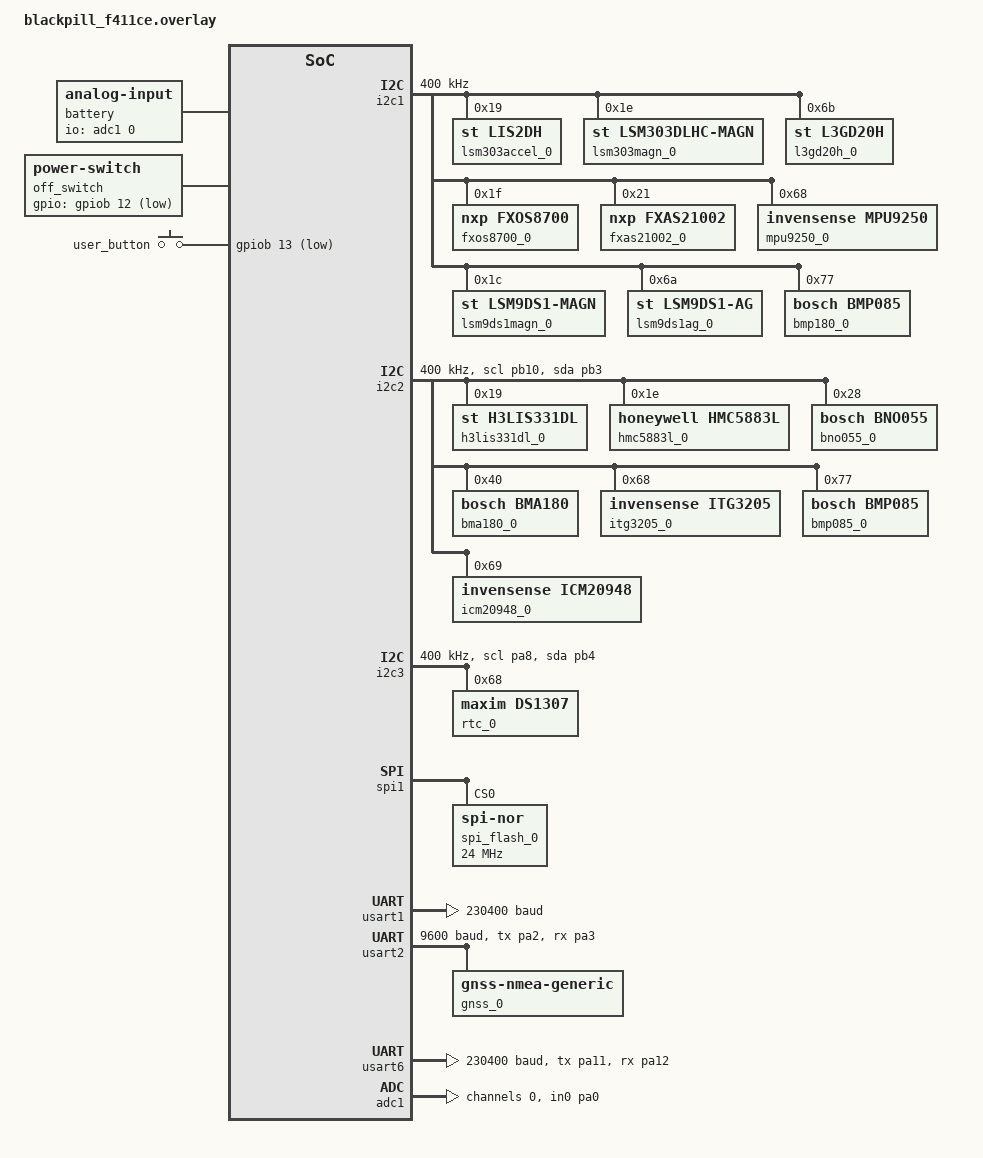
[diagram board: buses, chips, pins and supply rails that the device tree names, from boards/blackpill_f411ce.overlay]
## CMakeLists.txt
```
# SPDX-License-Identifier: Apache-2.0

cmake_minimum_required(VERSION 3.20.0)

set (CMAKE_CXX_STANDARD 20)
set (CMAKE_CXX_STANDARD_REQUIRED ON)


# Default board to blackpill
if (NOT DEFINED ${BOARD})
  set(BOARD blackpill_f411ce)
endif()

# Define board root to find our custom shield
set(BOARD_ROOT ${CMAKE_SOURCE_DIR})

find_package(Zephyr REQUIRED HINTS $ENV{ZEPHYR_BASE})

project(imubar)

FILE(GLOB app_sources src/*.cpp)

# For some reason west doesn't want to link in our driver sources...
#include(${ZEPHYR_BASE}/cmake/modules/extensions.cmake)
#add_subdirectory(drivers)
#target_sources(app PRIVATE ${app_sources})

# ... so add them explicitly
set(driver_sources 
  drivers/sensor/bosch/bno055/bno055.c
  drivers/sensor/st/lsm9ds1_ag/lsm9ds1_ag.c
  drivers/sensor/st/lsm9ds1_magn/lsm9ds1_magn.c
  drivers/sensor/st/l3gd20h/l3gd20h.c
  drivers/sensor/bosch/bmp085/bmp085.c
  drivers/sensor/bosch/bma180/bma180.c
  drivers/sensor/tdk/itg3205/itg3205.c
  drivers/sensor/tdk/icm20948/icm20948.c
  drivers/sensor/st/h3lis331dl/h3lis331dl.c
)
target_sources(app PRIVATE ${app_sources} ${driver_sources})

include(ExternalProject)

set(ATTITUDE_DIR ${CMAKE_CURRENT_SOURCE_DIR}/depends/attitude)
set(ATTITUDE_INCLUDE_DIR ${ATTITUDE_DIR}/include)
set(ATTITUDE_BUILD_DIR ${CMAKE_CURRENT_BINARY_DIR}/attitude)
set(ATTITUDE_LIB ${ATTITUDE_BUILD_DIR}/libattitude.a)

zephyr_get_include_directories_for_lang_as_string(       CPP CXX_INCLUDES)
zephyr_get_system_include_directories_for_lang_as_string(CPP CXX_SYSTEM_INCLUDES)
zephyr_get_compile_definitions_for_lang_as_string(       CPP CXX_DEFINITIONS)
zephyr_get_compile_options_for_lang_as_string(           CPP CXX_OPTIONS)


message("Compiler: ${CMAKE_CXX_COMPILER}")

ExternalProject_Add(
  attitude_src
  SOURCE_DIR ${ATTITUDE_DIR}
  PREFIX ${ATTITUDE_BUILD_DIR}
  BINARY_DIR ${ATTITUDE_BUILD_DIR}
  BUILD_BYPRODUCTS ${ATTITUDE_LIB}
  CMAKE_ARGS 
    -DCMAKE_TRY_COMPILE_TARGET_TYPE=STATIC_LIBRARY
    -DCMAKE_SYSTEM_NAME=Generic
    -DCMAKE_CROSSCOMPILING=1
    -DCMAKE_C_COMPILER=${CMAKE_C_COMPILER}
    -DCMAKE_C_COMPILER_WORKS=1
    -DCMAKE_CXX_COMPILER=${CMAKE_CXX_COMPILER}
    -DCMAKE_CXX_FLAGS=${CXX_OPTIONS}
  INSTALL_COMMAND ""
)

add_library(attitude_lib STATIC IMPORTED GLOBAL)
add_dependencies(attitude_lib attitude_src)


add_dependencies(app attitude_lib)
set_target_properties(attitude_lib PROPERTIES IMPORTED_LOCATION             ${ATTITUDE_LIB}) 
set_target_properties(attitude_lib PROPERTIES INTERFACE_INCLUDE_DIRECTORIES ${ATTITUDE_INCLUDE_DIR})

target_link_libraries(app PUBLIC attitude_lib)
target_include_directories(app PUBLIC ${ATTITUDE_INCLUDE_DIR})
```

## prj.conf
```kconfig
CONFIG_LOG=y
CONFIG_LOG_MODE_IMMEDIATE=y
CONFIG_LOG_DEFAULT_LEVEL=3
CONFIG_LOG_BACKEND_UART=y
CONFIG_CBPRINTF_FP_SUPPORT=y
CONFIG_DEBUG=y

CONFIG_MAIN_STACK_SIZE=2048
CONFIG_SYSTEM_WORKQUEUE_STACK_SIZE=2048

CONFIG_CPP=y
CONFIG_STD_CPP20=y
CONFIG_GLIBCXX_LIBCPP=y
CONFIG_FPU=y
CONFIG_FPU_SHARING=y

CONFIG_I2C=y                                                                                         
CONFIG_SENSOR=y                                                                                      
CONFIG_ADC=y
CONFIG_GPIO=y
CONFIG_SERIAL=y
CONFIG_UART_INTERRUPT_DRIVEN=y
CONFIG_RING_BUFFER=y

CONFIG_MPU9250_MAGN_EN=y
CONFIG_MPU9250_TRIGGER_NONE=y

CONFIG_FXOS8700_TRIGGER_NONE=y
CONFIG_FXOS8700_MODE_HYBRID=y
CONFIG_FXOS8700_TEMP=y

CONFIG_FXAS21002_TRIGGER_NONE=y
# 250dps
CONFIG_FXAS21002_RANGE=3
# 100Hz
CONFIG_FXAS21002_DR=3

CONFIG_LIS2DH=y
CONFIG_LIS2DH_ACCEL_RANGE_2G=y
CONFIG_LIS2DH_OPER_MODE_HIGH_RES=y
CONFIG_LIS2DH_ODR_6=y

CONFIG_LSM303DLHC_MAGN=y
CONFIG_LSM303DLHC_MAGN_RANGE=3
CONFIG_LSM303DLHC_MAGN_ODR=4

CONFIG_L3GD20H=y
CONFIG_L3GD20H_FS_245=y
CONFIG_L3GD20H_ODR_400=y
CONFIG_L3GD20H_FILTER_CUTOFF_2=y

CONFIG_BNO055=y
CONFIG_BNO055_TRIGGER_NONE=y
CONFIG_BNO055_OPERATION_MODE_ACCEL_GYRO_MAGN=y
CONFIG_BNO055_ACCEL_RANGE_4G=y
CONFIG_BNO055_ACCEL_BANDWIDTH_125HZ=y
CONFIG_BNO055_GYRO_RANGE_500DPS=y
CONFIG_BNO055_GYRO_BANDWIDTH_116HZ=y
CONFIG_BNO055_MAGN_OPERATION_MODE_REGULAR=y
CONFIG_BNO055_MAGN_POWER_MODE_NORMAL=y
CONFIG_BNO055_MAGN_DATA_RATE_10HZ=y

CONFIG_LSM9DS1_AG=y
CONFIG_LSM9DS1_TRIGGER_NONE=y
CONFIG_LSM9DS1_ACCEL_FULL_SCALE_2=y
CONFIG_LSM9DS1_GYRO_FULL_SCALE_245=y

CONFIG_LSM9DS1_MAGN=y
CONFIG_LSM9DS1_MAGN_TEMP_COMP=y
CONFIG_LSM9DS1_MAGN_ULTRA_PERF=y

CONFIG_BMP085=y
CONFIG_BMP085_OVERSAMPLING_ULTRA=y

CONFIG_ZBUS=y
CONFIG_ZBUS_CHANNEL_NAME=y
CONFIG_ZBUS_OBSERVER_NAME=y

CONFIG_SPI=y
CONFIG_FLASH=y
CONFIG_FLASH_PAGE_LAYOUT=y

CONFIG_GNSS=y
CONFIG_RTC=y
```

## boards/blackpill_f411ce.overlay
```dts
/*
 * Copyright (c) 2019 Nordic Semiconductor ASA
 *
 * SPDX-License-Identifier: Apache-2.0
 */


&i2c1 {
    clock-frequency = <I2C_BITRATE_FAST>;

    lsm303accel_0: lis2dh@19 {
        compatible = "st,lis2dh";
        reg = <0x19>;
    };

    lsm303magn_0: lsm303dlhc-magn@1e {
        compatible = "st,lsm303dlhc-magn";
        reg = <0x1e>;
    };

    l3gd20h_0: l3gd20h@6b {
        compatible = "st,l3gd20h";
        reg = <0x6b>;
    };

    fxos8700_0: fxos8700@1f {
		compatible = "nxp,fxos8700";
		reg = <0x1f>;
        range = <2>;
    };

    fxas21002_0: fxas21002@21 {
		compatible = "nxp,fxas21002";
		reg = <0x21>;
    };

	mpu9250_0: mpu9250@68 {
		compatible = "invensense,mpu9250";
		reg = <0x68>;
        gyro-sr-div = <10>;
        gyro-dlpf = <5>;
        gyro-fs = <250>;
        accel-fs = <2>;
        accel-dlpf = "5.05";
	};

    lsm9ds1magn_0: lsm9ds1magn@1c {
        compatible = "st,lsm9ds1-magn";
        reg = <0x1c>;
    };

    lsm9ds1ag_0: lsm9ds1ag@6a {
        compatible = "st,lsm9ds1-ag";
        reg = <0x6a>;
    };

    bmp180_0: bmp085@77 {
		compatible = "bosch,bmp085";
		reg = <0x77>;
    };
};

&i2c2 {
    pinctrl-0 = <&i2c2_scl_pb10 &i2c2_sda_pb3>;
    pinctrl-names = "default";
    status = "okay";
    clock-frequency = <I2C_BITRATE_FAST>;

    h3lis331dl_0: h3lis331dl@19 {
		compatible = "st,h3lis331dl";
		reg = <0x19>;
    };

    hmc5883l_0: hmc5883l@1e {
		compatible = "honeywell,hmc5883l";
		reg = <0x1e>;
    };

    bno055_0: bno055@28 {
		compatible = "bosch,bno055";
		reg = <0x28>;
    };

    bma180_0: bma180@40 {
		compatible = "bosch,bma180";
		reg = <0x40>;
    };

    itg3205_0: itg3205@68 {
		compatible = "invensense,itg3205";
		reg = <0x68>;
    };

    bmp085_0: bmp085@77 {
		compatible = "bosch,bmp085";
		reg = <0x77>;
    };

    icm20948_0: icm20948@69 {
		compatible = "invensense,icm20948";
		reg = <0x69>;
        accel-hz = <100>;
        gyro-hz = <100>;
        mag-freq = <10>;
    };

};

&i2c3 {
    pinctrl-0 = <&i2c3_scl_pa8 &i2c3_sda_pb4>;
    pinctrl-names = "default";
    status = "okay";
    clock-frequency = <I2C_BITRATE_FAST>;

    rtc_0: ds1307@68 {
        compatible = "maxim,ds1307";
        reg = <0x68>;
    };
};

&spi1 {
    status = "okay";

    spi_flash_0: flash@0 {
        compatible = "jedec,spi-nor";
        reg = <0>;
        spi-max-frequency = <24000000>; // 24 MHz
        size = <0x8000000>; // 128 Mbit
        jedec-id = [EF 40 18]; // Manufacturer and device ID
        status = "okay";
    };
};

&usart1 {
    status = "okay";
    current-speed = <230400>;
};

&usart2 {
    pinctrl-0 = <&usart2_tx_pa2 &usart2_rx_pa3>;
    pinctrl-names = "default";
    status = "okay";
    current-speed = <9600>;

    gnss_0: gnss-nmea-generic {
        compatible = "gnss-nmea-generic";
    };
};

&usart6 {
    pinctrl-0 = <&usart6_tx_pa11 &usart6_rx_pa12>;
    pinctrl-names = "default";
    status = "okay";
    current-speed = <230400>;
};

/* Move user button IO to free up pa0 for adc */
&user_button {
    gpios = <&gpiob 13 (GPIO_ACTIVE_LOW | GPIO_PULL_UP)>;
};

&adc1 {
    status = "okay";
    pinctrl-0 = <&adc1_in0_pa0>;
    pinctrl-names = "default";
    #address-cells = <1>;
    #size-cells = <0>;

    channel@0 {
        reg = <0>;
        zephyr,gain = "ADC_GAIN_1";
        zephyr,reference = "ADC_REF_INTERNAL";
        zephyr,acquisition-time = <ADC_ACQ_TIME_DEFAULT>;
        zephyr,resolution = <12>;
    };
};

/ {
    battery: battery {
        compatible = "analog-input";
        io-channels = <&adc1 0>;
        status = "okay";
    };

    off_switch: off_switch {
        compatible = "power-switch";
        gpios = <&gpiob 12 GPIO_ACTIVE_LOW>;
        status = "okay";
    };

    aliases {
        uartinterface = &usart6;
        uartgnss = &usart2;
    };
};
```

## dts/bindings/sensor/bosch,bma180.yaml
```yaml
# Copyright (c) 2024 J.R. Versteegh
# SPDX-License-Identifier: Apache-2.0

description: |
  Bosch BMA180 acceleration sensor.  See more info at:
  https://www.bosch-sensortec.com/products/

compatible: "bosch,bma180"

include: [sensor-device.yaml, i2c-device.yaml]
```

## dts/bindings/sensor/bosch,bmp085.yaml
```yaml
# Copyright (c) 2020 Nordic Semiconductor ASA
# SPDX-License-Identifier: Apache-2.0

description: |
  Bosch BMP085 pressure sensor.  See more info at:
  https://www.bosch-sensortec.com/products/

compatible: "bosch,bmp085"

include: [sensor-device.yaml, i2c-device.yaml]
```

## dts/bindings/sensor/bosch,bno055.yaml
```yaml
# Copyright (c) 2020 Nordic Semiconductor ASA
# SPDX-License-Identifier: Apache-2.0

description: |
  Bosch BNO055 9DOR imu with fusion.  See more info at:
  https://www.bosch-sensortec.com/products/smart-sensor-systems/sensor-nodes/

compatible: "bosch,bno055"

include: [sensor-device.yaml, i2c-device.yaml]

properties:
  int1-gpios:
    type: phandle-array
    description: |
      Identifies pin for the INT1 signal on the sensor.  The sensor
      INT2 signal is not supported by the driver.
```

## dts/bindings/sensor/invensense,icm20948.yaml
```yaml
description:
  TDK InvenSense ICM20948 9DOF motion sensor

compatible: "invensense,icm20948"

include: [sensor-device.yaml, i2c-device.yaml]
```

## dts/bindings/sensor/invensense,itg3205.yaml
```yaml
description:
  TDK InvenSense ITG3205 gyroscope

compatible: "invensense,itg3205"

include: [sensor-device.yaml, i2c-device.yaml]
```

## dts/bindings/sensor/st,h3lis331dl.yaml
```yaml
# Copyright (c) 2024 J.R. Versteegh
# SPDX-License-Identifier: Apache-2.0

description: |
  ST H3LIS331DL Accelerometer.  See more info at:
  https://www.st.com/en/mems-and-sensors/lsm9ds1.html

compatible: "st,h3lis331dl"

include: [sensor-device.yaml, i2c-device.yaml]

properties:
  int1-gpios:
    type: phandle-array
    description: |
      Identifies pins for the INT1 and INT2 signal on the sensor.
```

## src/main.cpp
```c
/*
 * Copyright (c) 2017 Intel Corporation
 *
 * SPDX-License-Identifier: Apache-2.0
 */

#include <zephyr/device.h>
#include <zephyr/drivers/gpio.h>
#include <zephyr/drivers/i2c.h>
#include <zephyr/drivers/sensor.h>
#include <zephyr/kernel.h>
#include <zephyr/kernel/thread.h>
#include <zephyr/logging/log.h>

#include <attitude/types.h>

LOG_MODULE_REGISTER(imubar);

#include "battery.h"
#include "clock.h"
#include "errors.h"
#include "gps.h"
#include "interface.h"
#include "sensors.h"
#include "storage.h"
#include "work.h"

using namespace imubar;

static const struct gpio_dt_spec led = GPIO_DT_SPEC_GET(DT_ALIAS(led0), gpios);

void fetch_envs(auto& envs) {
  for (auto& env : envs) {
    env->fetch();
  }
}

void fetch_envs_bus0() {
  auto& envs = sensors::get_envs_bus0();
  fetch_envs(envs);
}

void fetch_envs_bus1() {
  auto& envs = sensors::get_envs_bus1();
  fetch_envs(envs);
}

void read_envs(auto& envs, bool print) {
  for (auto& env : envs) {
    auto name = env->get_name();
    double uptime = env->get_time() / 1000.0;
    auto temperature = env->get_temperature();
    auto pressure = env->get_pressure();
    if (print) {
      printk("%8.3f  ", uptime);
      printk("%20.20s  ", name.c_str());
      printk("T: %2.2f ", static_cast<double>(temperature));
      printk("P: %6.0f\n", static_cast<double>(pressure));
    }
  }
}

void read_envs_bus0(bool print) {
  auto& envs = sensors::get_envs_bus0();
  read_envs(envs, print);
}

void read_envs_bus1(bool print) {
  auto& envs = sensors::get_envs_bus1();
  read_envs(envs, print);
}

void read_imus(auto& imus, bool print) {
  if (print) {
    printk("-----\n");
  }
  for (auto& imu : imus) {
    auto name = imu->get_name();
    double uptime = imu->fetch() / 1000.0;
    auto accel = imu->get_acceleration();
    auto gyro = imu->get_rotation();
    auto magn = imu->get_magfield();
    if (print) {
      printk("%8.3f  ", uptime);
      printk("%20.20s  ", name.c_str());
      printk(
          "A: %8.4f, %8.4f, %8.4f  ",
          static_cast<double>(accel.x),
          static_cast<double>(accel.y),
          static_cast<double>(accel.z));
      printk(
          "R: %7.4f, %7.4f, %7.4f  ",
          static_cast<double>(gyro.x),
          static_cast<double>(gyro.y),
          static_cast<double>(gyro.z));
      printk(
          "M: %7.4f, %7.4f, %7.4f\n",
          static_cast<double>(magn.x),
          static_cast<double>(magn.y),
          static_cast<double>(magn.z));
    }
  }
}

void read_imus_bus0(bool print) {
  auto& imus = sensors::get_imus_bus0();
  read_imus(imus, print);
}

void read_imus_bus1(bool print) {
  auto& imus = sensors::get_imus_bus1();
  read_imus(imus, print);
}

static void initialize_led() {
  if (!gpio_is_ready_dt(&led)) {
    LOG_ERR("GPIO not ready.");
  }

  int ret = gpio_pin_configure_dt(&led, GPIO_OUTPUT_ACTIVE);
  if (ret < 0) {
    LOG_ERR("Failed to initialize LED.");
  }
}

static void toggle_led() {
  static bool led_state = true;
  int ret = gpio_pin_toggle_dt(&led);
  if (ret < 0) {
    LOG_ERR("Failed to toggle LED.");
  }
  led_state = !led_state;
}

void bus0_loop(void* arg1, void* arg2, void* arg3) {
  int i = 0;
  auto time = k_uptime_get();
  int64_t sum_rem = 0;
  while (true) {
    bool on_second = i % 100 == 0;
    read_imus_bus0(on_second);
    if (on_second) {
      fetch_envs_bus0();
    }

    time += 10;
    auto rem = time - k_uptime_get();
    if (rem > 0) {
      k_sleep(K_MSEC(rem));
    }
    sum_rem += rem;
    if (i % 1000 == 0) {
      auto duty_cycle = 100 - sum_rem / 100;
      printk("Bus 0 duty cycle: %lld%%\n\n", duty_cycle);
      sum_rem = 0;
    }

    ++i;
  }
}

void bus1_loop(void* arg1, void* arg2, void* arg3) {
  int i = 0;
  auto time = k_uptime_get();
  int64_t sum_rem = 0;
  while (true) {
    bool on_second = i % 100 == 0;
    read_imus_bus1(on_second);
    if (on_second) {
      fetch_envs_bus1();
    }

    time += 10;
    auto rem = time - k_uptime_get();
    if (rem > 0) {
      k_sleep(K_MSEC(rem));
    }
    sum_rem += rem;
    if (i % 1000 == 0) {
      auto duty_cycle = 100 - sum_rem / 100;
      printk("Bus 1 duty cycle: %lld%%\n\n", duty_cycle);
      sum_rem = 0;
    }

    ++i;
  }
}

K_THREAD_DEFINE(bus0_thread, 2048, bus0_loop, NULL, NULL, NULL, -1, K_FP_REGS, 1000);
K_THREAD_DEFINE(bus1_thread, 2048, bus1_loop, NULL, NULL, NULL, -1, K_FP_REGS, 1500);


int main(void) {
  LOG_INF("IMUBar initializing...");
  initialize_led();
  clock::initialize();
  storage::initialize();
  gnss::initialize();
  interface::initialize();
  sensors::initialize();
  battery::initialize();

  LOG_INF("IMUBar running...");
  int i = 0;
  int64_t last_sec = 0;
  auto loop_time = k_uptime_get();
  int64_t sum_rem = 0;
  char msg[16];
  while (true) {
    auto [time, uptime] = clock::get_time_and_uptime();
    loop_time += 10;
    auto rem = loop_time - uptime;
    if (rem > 0) {
      k_sleep(K_MSEC(rem));
    }
    sum_rem += rem;
    if (i % 1000 == 0) {
      auto duty_cycle = 100 - sum_rem / 100;
      printk("Main thread duty cycle: %lld%%\n\n", duty_cycle);
      sum_rem = 0;
    }

    auto sec = time / clock_scaler;
    if (sec != last_sec) {
      last_sec = sec;

      toggle_led();

      switch (sec % 5) {
        case 0: {
          auto time_str = clock::get_time_str();
          LOG_INF("%s", time_str.c_str());
          interface::write((uint8_t*)time_str.c_str(), time_str.length());
        } break;
        case 1: {
          auto date_str = clock::get_date_str();
          LOG_INF("%s", date_str.c_str());
          interface::write((uint8_t*)date_str.c_str(), date_str.length());
        } break;
        case 2: {
          char has_data = gnss::has_data() ? 'T' : 'F';
          char has_fix = gnss::has_fix() ? 'T' : 'F';
          auto pos = gnss::get_position();
          snprintf(
              msg,
              16,
              "%c%c %.2f %.2f",
              has_data,
              has_fix,
              (double)pos.lat(),
              (double)pos.lon());
          LOG_INF("%s", msg);
          interface::write((uint8_t*)msg, strlen(msg));
        } break;
        case 3: {
          auto battery_level = battery::check();
          snprintf(msg, 16, "Batt %.2f V", (double)battery_level);
          LOG_INF("%s", msg);
          interface::write((uint8_t*)msg, strlen(msg));
        } break;
        case 4: {
          auto adjustment = clock::get_adjustment();
          snprintf(msg, 16, "Adj %d ms", adjustment);
          LOG_INF("%s", msg);
          interface::write((uint8_t*)msg, strlen(msg));
        } break;
      }
    }
    clock::adjust_from_rtc();
    ++i;
  }

  LOG_INF("IMUBar done.");
  return 0;
}
```

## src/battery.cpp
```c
#include <zephyr/device.h>
#include <zephyr/drivers/adc.h>
#include <zephyr/drivers/gpio.h>
#include <zephyr/kernel.h>
#include <zephyr/logging/log.h>

#include "battery.h"
#include "errors.h"
#include "types.h"

LOG_MODULE_DECLARE(imubar);

#define BATTERY DT_NODELABEL(battery)
#define OFF_SWITCH DT_NODELABEL(off_switch)

#if !DT_NODE_EXISTS(BATTERY)
#error "Battery voltage gpio input not properly defined."
#endif

#if !DT_NODE_EXISTS(OFF_SWITCH)
#error "Power off switch gpio output not properly defined."
#endif

namespace imubar {

static constexpr float battery_level_multiplier = 0.002025;

namespace battery {

static const struct adc_dt_spec battery = ADC_DT_SPEC_GET(BATTERY);
static const struct gpio_dt_spec off_switch = GPIO_DT_SPEC_GET(OFF_SWITCH, gpios);

static float get_level() {
  uint16_t sample;
  struct adc_sequence sequence = {
      .options = nullptr,
      .buffer = &sample,
      .buffer_size = sizeof(sample),
      .calibrate = false,
  };
  adc_sequence_init_dt(&battery, &sequence);
  int err = adc_read_dt(&battery, &sequence);
  if (err < 0) {
    LOG_ERR("Could not read: %d", err);
    return 0.0f;
  }
  int32_t val = static_cast<int32_t>(sample);
  err = adc_raw_to_millivolts_dt(&battery, &val);
  if (err < 0) {
    LOG_ERR("Failed to convert to millivolts: %d", err);
    return 0.0f;
  }
  float value = battery_level_multiplier * static_cast<float>(val);
  static float mean = value;
  mean = 0.97f * mean + 0.03f * value;
  return mean;
}

static void switch_off() {
  LOG_INF("Enabling output...");
  int ret = gpio_pin_configure_dt(&off_switch, GPIO_OUTPUT);
  if (ret < 0) {
    LOG_ERR("Failed to configure offswitch to output");
    return;
  }
  LOG_INF("Switching off...");
  ret = gpio_pin_set_dt(&off_switch, GPIO_OUTPUT_ACTIVE);
  if (ret < 0) {
    LOG_ERR("Failed to switch off");
    return;
  }
  LOG_INF("Switched off!");
  k_msleep(1000);
  ret = gpio_pin_configure_dt(&off_switch, GPIO_DISCONNECTED);
  if (ret < 0) {
    LOG_ERR("Failed to release output");
    return;
  }
  k_msleep(1000);
  LOG_INF("Switch off ineffective...");
}

float check() {
  auto battery_level = get_level();
  if (battery_level < 3.45f) {
    LOG_WRN("%.2f V. Low Battery!", (double)battery_level);
    k_msleep(500);
    for (int i = 0; i < 3; ++i)
      switch_off();
    LOG_INF("Halting system...");
    k_fatal_halt(0);
  }
  return battery_level;
}

void initialize() {
  if (!adc_is_ready_dt(&battery)) {
    error(2, "ADC device for battery level not ready");
  }

  int ret = adc_channel_setup_dt(&battery);
  if (ret) {
    error(2, "ADC channel setup for battery level failed: %d", ret);
  }

  // Initialize adc and mean value for battery voltage
  for (int i = 0; i < 100; ++i) {
    get_level();
    k_msleep(5);
  }

  if (!gpio_is_ready_dt(&off_switch)) {
    error(2, "GPIO not ready");
  }

  ret = gpio_pin_configure_dt(&off_switch, GPIO_DISCONNECTED);
  if (ret < 0) {
    error(2, "Failed to configure offswitch to disconnected");
  }
}

} // namespace battery
} // namespace imubar
```

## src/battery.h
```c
#ifndef IMUBAR_BATTERY_H__
#define IMUBAR_BATTERY_H__

namespace imubar {
namespace battery {

extern void initialize();
extern float check();

} // namespace battery
} // namespace imubar

#endif
```

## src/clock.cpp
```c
#include "clock.h"
#include "errors.h"
#include "gps.h"

#include <zephyr/kernel.h>
#include <zephyr/logging/log.h>
#include <zephyr/sys/timeutil.h>

#include <ctime>


LOG_MODULE_DECLARE(imubar);

#define RTC_0 DT_NODELABEL(rtc_0)

namespace imubar {
namespace clock {

static device const* const rtc = DEVICE_DT_GET(RTC_0);

static Time uptime_offset_ = 0;
static Time clock_set_at_ = 0;
static int32_t adjustment_ = 0;


int32_t get_adjustment() {
  return adjustment_;
}

static rtc_time rtctime_to_set{};
static k_work_delayable rtc_set{};
static k_work clock_update{};

void set_rtc_delayed(k_work* work) {
  if (!set_rtc(rtctime_to_set, false)) {
    LOG_ERR("Failed to set RTC");
    adjustment_ = -600000;
  }
}

Time rtc_time_to_time(rtc_time rtctime, bool include_millis) {
  time_t time = timeutil_timegm(rtc_time_to_tm(&rtctime));
  auto result = clock_scaler * time;
  if (include_millis) {
    result += rtctime.tm_nsec / 1000000;
  }
  return result;
}

bool set_rtc(rtc_time& rtctime, bool set_clock) {
  auto delay = 1000 - (rtctime.tm_nsec / 1000000) - 10;
  if (rtctime.tm_nsec == 0 || delay <= 0) {
    auto ret = rtc_set_time(rtc, &rtctime);
    if (ret < 0) {
      LOG_ERR("Failed to set RTC clock");
      return false;
    }
  }
  else {
    rtctime_to_set = rtctime;
    rtctime_to_set.tm_sec += 1;
    rtctime_to_set.tm_nsec = 0;
    if (rtctime_to_set.tm_sec > 59) {
      rtctime_to_set.tm_min += 1;
      rtctime_to_set.tm_sec = 0;
    }
    if (rtctime_to_set.tm_min > 59) {
      rtctime_to_set.tm_hour += 1;
      rtctime_to_set.tm_min = 0;
    }
    k_work_schedule(&rtc_set, K_MSEC(delay));
  }
  if (set_clock) {
    set(rtctime);
  }
  return true;
}

void set(Time time) {
  clock_set_at_ = k_uptime_get();
  uptime_offset_ = time - clock_set_at_;
  adjustment_ = 0;
}

void set(rtc_time& rtctime) {
  set(rtc_time_to_time(rtctime));
}

bool set_from_rtc(bool exact) {
  rtc_time rtctime;
  auto ret = rtc_get_time(rtc, &rtctime);
  if (ret < 0) {
    LOG_ERR("Failed to get RTC time: %d", ret);
    return false;
  }
  if (exact && (rtctime.tm_nsec == 0)) {
    auto secs = rtctime.tm_sec;
    while (rtctime.tm_sec == secs) {
      ret = rtc_get_time(rtc, &rtctime);
      if (ret < 0) {
        LOG_ERR("Failed to get RTC time: %d", ret);
        return false;
      }
      k_msleep(5);
    }
  }
  set(rtctime);
  return true;
}

void adjust(Time time) {
  static int drift_dir = 0;
  auto offset = time - get_time();
  if (offset > 10) {
    if (drift_dir < 60) {
      drift_dir += 1;
    }
    if (drift_dir > 0) {
      uptime_offset_ += 1;
      adjustment_ += 1;
    }
  }
  else if (offset < -10) {
    if (drift_dir > -60) {
      drift_dir -= 1;
    }
    if (drift_dir < 0) {
      uptime_offset_ -= 1;
      adjustment_ -= 1;
    }
  }
}

void adjust(rtc_time& rtctime) {
  adjust(rtc_time_to_time(rtctime));
}

static void update_clock(k_work* work) {
  rtc_time rtctime;
  auto ret = rtc_get_time(rtc, &rtctime);
  if (ret < 0) {
    LOG_ERR("Failed to get RTC time: %d", ret);
    return;
  }
  static Time last_time_from_rtc = 0;
  Time time_from_rtc = rtc_time_to_time(rtctime, false);
  // Do this each on each 10s mark only and when we ticked exactly 1 second
  if (((rtctime.tm_sec % 10) == 0) && ((time_from_rtc - last_time_from_rtc) == 1_s)) {
    adjust(time_from_rtc);
  }
  last_time_from_rtc = time_from_rtc;
}

/**
 * Call multiple times a second to get accurate results. This is
 * because the RTC only has 1 second resolution and so we'll need
 * to poll the rtc often to get close to the second increment
 */
void adjust_from_rtc() {
  k_work_submit(&clock_update);
}

Time get_time() {
  return k_uptime_get() + uptime_offset_;
}

std::tuple<Time, Time> get_time_and_uptime() {
  auto uptime = k_uptime_get();
  return std::make_tuple(uptime + uptime_offset_, uptime);
}

std::string get_time_str(bool include_date) {
  static constexpr char const* const short_fmt = "%H:%M:%S";
  static constexpr char const* const long_fmt = "%m-%d %H:%M:%S";
  auto now = get_time() / clock_scaler;
  auto time = gmtime(&now);
  std::string result{};
  result.resize(24);
  if (include_date) {
    auto s = std::strftime(&result[0], result.size(), long_fmt, time);
    result.resize(s);
  }
  else {
    auto s = std::strftime(&result[0], result.size(), short_fmt, time);
    result.resize(s);
  }
  return result;
}

std::string get_date_str() {
  static constexpr char const* const fmt = "%Y-%m-%d %V %a";
  auto now = get_time() / clock_scaler;
  auto time = gmtime(&now);
  std::string result{};
  result.resize(20);
  auto s = std::strftime(&result[0], result.size(), fmt, time);
  result.resize(s);
  return result;
}

void initialize() {
  if (!device_is_ready(rtc)) {
    error(2, "RTC not ready.");
  }

  k_work_init_delayable(&rtc_set, &set_rtc_delayed);
  k_work_init(&clock_update, &update_clock);

  set_from_rtc(true);
}


} // namespace clock
} // namespace imubar
```

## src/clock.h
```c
#ifndef IMUBAR_CLOCK_H__
#define IMUBAR_CLOCK_H__

#include <zephyr/drivers/rtc.h>

#include <string>
#include <tuple>

#include "types.h"

namespace imubar {
namespace clock {

extern void initialize();
extern bool set_rtc(rtc_time& rtctime, bool set_clock = true);
extern void set(Time const time);
extern void set(rtc_time& rtctime);
extern bool set_from_rtc(bool exact = false);
extern void adjust(Time const time);
extern void adjust(rtc_time& rtctime);
extern void adjust_from_rtc();
extern Time get_time();
extern std::tuple<Time, Time> get_time_and_uptime();
extern std::string get_time_str(bool include_date = true);
extern std::string get_date_str();
extern Time rtc_time_to_time(rtc_time rtctime, bool include_millis = true);
extern int32_t get_adjustment();

} // namespace clock


inline constexpr Time operator""_s(unsigned long long int literal) {
  return literal * clock_scaler;
}
inline constexpr Time operator""_ms(unsigned long long int literal) {
  return literal;
}
inline constexpr int operator""_rtcms(unsigned long long int literal) {
  return literal * 1'000'000;
}

} // namespace imubar

#endif
```

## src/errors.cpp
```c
#include "errors.h"

void halt_or_reboot() {
  k_sleep(K_SECONDS(2));
  sys_reboot(SYS_REBOOT_COLD);
}
```

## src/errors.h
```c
#ifndef IMUBAR_ERRORS_H__
#define IMUBAR_ERRORS_H__

#include <zephyr/kernel.h>
#include <zephyr/sys/reboot.h>

// We don't have user input so OK with non literal format strings
#pragma GCC diagnostic ignored "-Wformat-security"

extern void halt_or_reboot();

template <typename... Args>
inline void error(int category, char const* const message, Args... args) {
  printk(message, args...);
  printk("\n");
  halt_or_reboot();
}

#endif
```

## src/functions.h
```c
#ifndef IMUBAR_FUNCTIONS_H__
#define IMUBAR_FUNCTIONS_H__

#include <cmath>
#include <numbers>

#include "types.h"

namespace imubar {

static constexpr Number pi = std::numbers::pi_v<Number>;

inline Number angle_mod(Number const angle) {
  Number result = std::fmod(angle, Number{360.0});
  return result < Number{0.0} ? result + Number{360.0} : result;
}

inline Number angle_mod_signed(Number const angle) {
  Number result = std::fmod(angle, Number{360.0});
  return result < Number{-180.0}   ? result + Number{360.0}
         : result >= Number{180.0} ? result - Number{360.0}
                                   : result;
}

inline Number angle_diff(Number const angle1, Number const angle2) {
  return angle_mod_signed(angle1 - angle2);
}

} // namespace imubar

#endif
```

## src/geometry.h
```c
#ifndef IMUBAR_GEOMETRY_H__
#define IMUBAR_GEOMETRY_H__

#include "functions.h"

static constexpr Number width = 0.125;
static constexpr Number wheel_diameter = 0.083;
static constexpr int ticks_per_revolution = 24;
static constexpr Number wheel_step = pi * wheel_diameter / ticks_per_revolution;

#endif
```

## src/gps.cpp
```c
#include <zephyr/drivers/gnss.h>
#include <zephyr/drivers/rtc.h>
#include <zephyr/drivers/uart.h>
#include <zephyr/logging/log.h>

#include "clock.h"
#include "errors.h"
#include "gps.h"

#define UART_GNSS DT_ALIAS(uartgnss)
#define GNSS_0 DT_NODELABEL(gnss_0)

LOG_MODULE_DECLARE(imubar);

namespace imubar {
namespace gnss {

static constexpr char const* mtk_only_rmcgga_and_baud_115200 =
    "$PMTK314,0,1,0,1,0,0,0,0,0,0,0,0,0,0,0,0,0,0,0*28\r\n"
    "$PMTK251,115200*1F\r\n";

static device const* const uart_gnss = DEVICE_DT_GET(UART_GNSS);
static device const* const gnss_ = DEVICE_DT_GET(GNSS_0);

static navigation_data data_{};
static bool has_fix_ = false;
static Time data_time_ = 0;

constexpr int gps_reception_delay = 200_rtcms;

static void handle_gnss_data(device const* dev, gnss_data const* data) {
  static int time_set_day = -1;
  data_time_ = clock::get_time();
  data_ = data->nav_data;
  has_fix_ = data->info.fix_status > 0;
  if (has_fix_) {
    auto const& utc = data->utc;
    auto seconds = utc.millisecond / 1000;
    auto nanos = (utc.millisecond % 1000) * 1'000'000 + gps_reception_delay;
    seconds += nanos / 1'000'000'000;
    nanos = nanos % 1'000'000'000;
    //  Do clock setting and adjusting only on 10s boundaries
    if ((seconds % 10) == 0) {
      // The GPS data can have between a 50ms to 400ms delay to be received.
      // We'd need to generate an interrupt from the GPS PPS signal to do better.
      // The PPS is not broken out on the board we have unfortunately.
      // We'll guess a 250ms reception delay
      rtc_time gpstime = {
          .tm_sec = seconds,
          .tm_min = utc.minute,
          .tm_hour = utc.hour,
          .tm_mday = utc.month_day,
          .tm_mon = utc.month - 1,
          .tm_year = 100 + utc.century_year,
          .tm_wday = -1,
          .tm_yday = -1,
          .tm_isdst = false,
          .tm_nsec = nanos,
      };
      if (utc.month_day != time_set_day) {
        if (clock::set_rtc(gpstime, time_set_day < 0)) {
          time_set_day = utc.month_day;
        }
      }
    }
  }
}

GNSS_DATA_CALLBACK_DEFINE(gnss_, handle_gnss_data);

bool has_fix() {
  return has_fix_;
}

bool has_data() {
  // Whether we have received data in the last 10 seconds
  return (clock::get_time() - data_time_) < (10 * clock_scaler);
}

Position get_position() {
  return Position(1E-9 * data_.latitude, 1E-9 * data_.longitude);
}

Velocity get_velocity() {
  return Velocity(data_.speed, 1E-3 * data_.bearing);
}


void initialize() {
  if (!device_is_ready(gnss_)) {
    error(2, "GNSS not ready.");
  }

  // Get current UART config
  uart_config config;
  auto ret = uart_config_get(uart_gnss, &config);
  if (ret < 0) {
    error(2, "Failed to get GNSS uart config.");
  }

  // MTK init
  for (char const* c = mtk_only_rmcgga_and_baud_115200; *c != '\0'; ++c) {
    uart_poll_out(uart_gnss, *c);
  }

  k_msleep(500);

  // Set UART config with updated baudrate
  config.baudrate = 115200;
  ret = uart_configure(uart_gnss, &config);
  if (ret < 0) {
    error(2, "Failed to set GNSS uart config.");
  }
}

} // namespace gnss
} // namespace imubar
```

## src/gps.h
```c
#ifndef IMUBAR_GPS_H__
#define IMUBAR_GPS_H__

#include "types.h"

namespace imubar {

namespace gnss {

extern void initialize();
extern bool has_fix();
extern bool has_data();
extern Position get_position();
extern Velocity get_velocity();

} // namespace gnss
} // namespace imubar

#endif
```

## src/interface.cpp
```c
#include <zephyr/kernel.h>
#include <zephyr/logging/log.h>

#include "errors.h"
#include "interface.h"
#include "serial.h"

LOG_MODULE_DECLARE(imubar);

#ifndef INTERFACE_UART
#define INTERFACE_UART DT_ALIAS(uartinterface)
#endif

namespace imubar {
namespace interface {

static device const* const interface_uart = DEVICE_DT_GET(INTERFACE_UART);

RING_BUF_DECLARE(interface_input, 256);
RING_BUF_DECLARE(interface_output, 256);

static serial::UartData uart_data{&interface_input, &interface_output, "INTERFACE_UART"};

static constexpr char const* const ping_ = "INTFPING\r\n";
static constexpr char const* const pong_ = "INTFPONG\r\n";
static constexpr char const* const init_ = "INTFINIT\r\n";

int write(uint8_t const* data, size_t size) {
  return serial::write(interface_uart, data, size, &uart_data);
}

int read(uint8_t* data, size_t size) {
  return serial::read(interface_uart, data, size, &uart_data);
}

void ping() {
  write((uint8_t*)ping_, strlen(ping_));
}

void initialize() {
  if (!serial::initialize(interface_uart, &uart_data)) {
    error(2, "Interface UART not ready.");
  }

  serial::write(interface_uart, (uint8_t*)init_, strlen(init_), &uart_data);
}

} // namespace interface
} // namespace imubar
```

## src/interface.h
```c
#ifndef IMUBAR_INTERFACE_H__
#define IMUBAR_INTERFACE_H__

#include "types.h"

namespace imubar {
namespace interface {

extern void initialize();
extern int read(uint8_t* data, size_t size);
extern int write(uint8_t const* data, size_t size);
extern void ping();

} // namespace interface
} // namespace imubar

#endif
```
